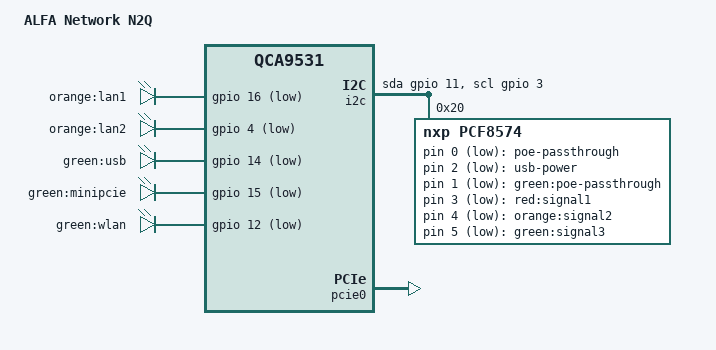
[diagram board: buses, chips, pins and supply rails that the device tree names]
// SPDX-License-Identifier: GPL-2.0-or-later OR MIT

#include "qca9531_alfa-network_r36a.dtsi"

/ {
	model = "ALFA Network N2Q";
	compatible = "alfa-network,n2q", "qca,qca9531";

	aliases {
		led-boot = &led_usb;
		led-failsafe = &led_usb;
		led-upgrade = &led_usb;
	};

	gpio-export-pcf8574 {
		compatible = "gpio-export";
		#size-cells = <0>;

		poe-passthrough {
			gpio-export,name = "poe-passthrough";
			gpio-export,output = <1>;
			gpios = <&pcf8574 0 GPIO_ACTIVE_LOW>;
		};

		usb-power {
			gpio-export,name = "usb-power";
			gpio-export,output = <0>;
			gpios = <&pcf8574 2 GPIO_ACTIVE_LOW>;
		};
	};

	i2c {
		compatible = "i2c-gpio";
		#address-cells = <1>;
		#size-cells = <0>;

		sda-gpios = <&gpio 11 (GPIO_ACTIVE_HIGH | GPIO_OPEN_DRAIN)>;
		scl-gpios = <&gpio  3 (GPIO_ACTIVE_HIGH | GPIO_OPEN_DRAIN)>;

		pcf8574: pcf8574@20 {
			compatible = "nxp,pcf8574";
			reg = <0x20>;
			gpio-controller;
			#gpio-cells = <2>;
		};
	};

	leds {
		compatible = "gpio-leds";

		pinctrl-names = "default";
		pinctrl-0 = <&enable_gpio4 &enable_gpio16>;

		lan1 {
			label = "orange:lan1";
			gpios = <&gpio 16 GPIO_ACTIVE_LOW>;
		};

		lan2 {
			label = "orange:lan2";
			gpios = <&gpio 4 GPIO_ACTIVE_LOW>;
		};

		led_usb: usb {
			label = "green:usb";
			gpios = <&gpio 14 GPIO_ACTIVE_LOW>;
			linux,default-trigger = "usbport";
			trigger-sources = <&hub_port0>;
		};

		minipcie {
			label = "green:minipcie";
			gpios = <&gpio 15 GPIO_ACTIVE_LOW>;
		};

		wlan {
			label = "green:wlan";
			gpios = <&gpio 12 GPIO_ACTIVE_LOW>;
			linux,default-trigger = "phy0tpt";
		};
	};

	leds-pcf8574 {
		compatible = "gpio-leds";

		poe-passthrough {
			label = "green:poe-passthrough";
			gpios = <&pcf8574 1 GPIO_ACTIVE_LOW>;
		};

		signal1 {
			label = "red:signal1";
			gpios = <&pcf8574 3 GPIO_ACTIVE_LOW>;
		};

		signal2 {
			label = "orange:signal2";
			gpios = <&pcf8574 4 GPIO_ACTIVE_LOW>;
		};

		signal3 {
			label = "green:signal3";
			gpios = <&pcf8574 5 GPIO_ACTIVE_LOW>;
		};
	};
};

&eth0 {
	mtd-mac-address = <&art 0x1002>;
	mtd-mac-address-increment = <(-2)>;
};

&eth1 {
	mtd-mac-address = <&art 0x1002>;
	mtd-mac-address-increment = <(-1)>;
};

&pcie0 {
	status = "okay";
};
